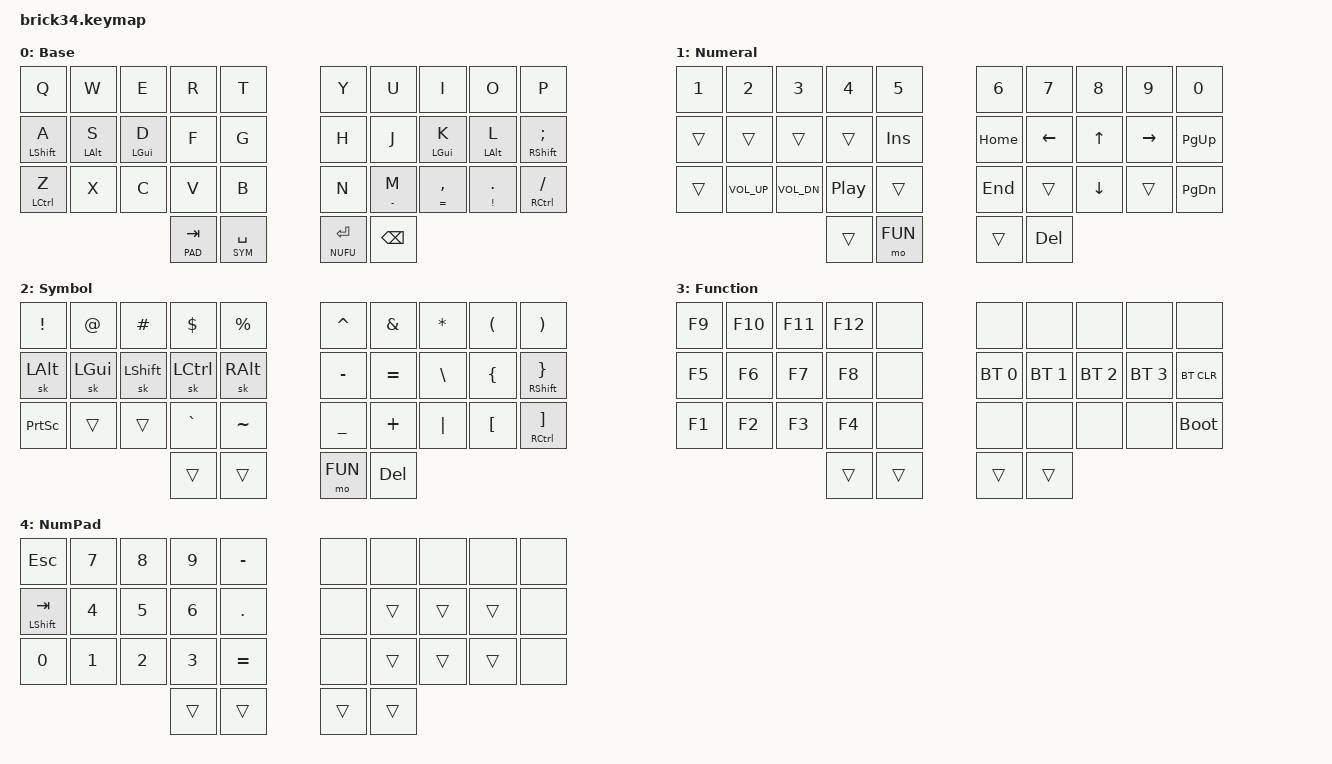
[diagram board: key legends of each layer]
#include <behaviors.dtsi>
#include <dt-bindings/zmk/bt.h>
#include <dt-bindings/zmk/keys.h>

#define BASE 0
#define NUFU 1
#define SYM 2
#define FUN 3
#define PAD 4

&sl {
  release-after-ms = <250>;
};

&mt {
    tapping-term-ms = <200>;
    require-prior-idle-ms = <150>;
};

/ {
    chosen { zmk,matrix_transform = &default_transform; };

    #include "combos.dtsi"

    behaviors {
        hml: homewrow_mods_left {
            compatible = "zmk,behavior-hold-tap";
            label = "HOMEROW_MODS_LEFT_HAND";
            bindings = <&kp>, <&kp>;

            #binding-cells = <2>;
            tapping-term-ms = <280>;
            hold-trigger-key-positions = <5 6 7 8 9 15 16 17 18 19 25 26 27 28 29 33 34>;
            flavor = "balanced";
            quick-tap-ms = <175>;
            require-prior-idle-ms = <125>;
            hold-trigger-on-release;
        };

        hmr: homewrow_mods_right {
            compatible = "zmk,behavior-hold-tap";
            label = "HOMEROW_MODS_RIGHT_HAND";
            bindings = <&kp>, <&kp>;

            #binding-cells = <2>;
            tapping-term-ms = <280>;
            hold-trigger-key-positions = <0 1 2 3 4 10 11 12 13 14 20 21 22 23 24 30 31 32>;
            flavor = "balanced";
            quick-tap-ms = <175>;
            require-prior-idle-ms = <125>;
            hold-trigger-on-release;
        };

        hm: homerow_mods {
            compatible = "zmk,behavior-hold-tap";
            label = "HOMEROW_MODS";
            #binding-cells = <2>;
            tapping-term-ms = <150>;
            quick_tap_ms = <0>;
            flavor = "tap-preferred";
            bindings = <&kp>, <&kp>;
        };
    };


    keymap {
        compatible = "zmk,keymap";
        Base {
            label = "Base";
            bindings = <
// ╭────────────────┬────────────────┬────────────────┬────────────────┬────────────────╮   ╭────────────────┬────────────────┬────────────────┬────────────────┬────────────────╮
   	&kp Q            &kp W            &kp E            &kp R            &kp T                &kp Y       	  &kp U            &kp I       		&kp O       	 &kp P
// ├────────────────┼────────────────┼────────────────┼────────────────┼────────────────┤   ├────────────────┼────────────────┼────────────────┼────────────────┼────────────────┤
   	&hm LSHFT A      &hm LALT S       &hm LGUI D       &kp F            &kp G                &kp H       	  &kp J            &hm LGUI K  	    &hm LALT L  	 &hm RSHFT SEMI
// ├────────────────┼────────────────┼────────────────┼────────────────┼────────────────┤   ├────────────────┼────────────────┼────────────────┼────────────────┼────────────────┤
   	&hm LCTRL Z      &kp X            &kp C            &kp V            &kp B                &kp N       	  &mt MINUS M      &mt EQUAL COMMA  &mt EXCL DOT	 &hm RCTRL FSLH
// ╰────────────────┴────────────────┴────────────────┼────────────────┼────────────────┤   ├────────────────┼────────────────┼────────────────┴────────────────┴────────────────╯
                                              		   &lt PAD TAB      &lt SYM SPACE        &lt NUFU ENTER   &kp BSPC
//                                                    ╰────────────────┴────────────────╯   ╰────────────────┴────────────────╯
            >;
		};

        NuFu {
            label = "Numeral";
            bindings = <
// ╭────────────────┬────────────────┬────────────────┬────────────────┬────────────────╮   ╭────────────────┬────────────────┬────────────────┬────────────────┬────────────────╮
    &kp N1		     &kp N2		      &kp N3		   &kp N4		    &kp N5		    	 &kp N6	    	  &kp N7		   &kp N8			&kp N9			 &kp N0
// ├────────────────┼────────────────┼────────────────┼────────────────┼────────────────┤   ├────────────────┼────────────────┼────────────────┼────────────────┼────────────────┤
    &trans 		 	 &trans  	  	  &trans           &trans   	    &kp INS       		 &kp HOME		  &kp LEFT		   &kp UP  		    &kp RIGHT		 &kp PG_UP
// ├────────────────┼────────────────┼────────────────┼────────────────┼────────────────┤   ├────────────────┼────────────────┼────────────────┼────────────────┼────────────────┤
    &trans 		 	 &kp C_VOL_UP	  &kp C_VOL_DN	   &kp C_PP 	    &trans        		 &kp END	      &trans	       &kp DOWN		    &trans	    	 &kp PG_DN
// ╰────────────────┴────────────────┴────────────────┼────────────────┼────────────────┤   ├────────────────┼────────────────┼────────────────┴────────────────┴────────────────╯
               	                                       &trans           &mo FUN         	 &trans      	  &kp DEL
//                                                    ╰────────────────┴────────────────╯   ╰────────────────┴────────────────╯
            >;
        };

        Symbol {
            label = "Symbol";
            bindings = <
// ╭────────────────┬────────────────┬────────────────┬────────────────┬────────────────╮   ╭────────────────┬────────────────┬────────────────┬────────────────┬────────────────╮
    &kp EXCL  	     &kp AT 		  &kp HASH  	   &kp DLLR  	    &kp PRCNT       	 &kp CARET		  &kp AMPS		   &kp ASTRK		&kp LPAR		 &kp RPAR
// ├────────────────┼────────────────┼────────────────┼────────────────┼────────────────┤   ├────────────────┼────────────────┼────────────────┼────────────────┼────────────────┤
    &sk LALT	     &sk LGUI	      &sk LSHIFT	   &sk LCTRL	    &sk RALT 	    	 &kp MINUS 		  &kp EQUAL		   &kp BSLH		    &kp LBRC   		 &hm RSHFT RBRC
// ├────────────────┼────────────────┼────────────────┼────────────────┼────────────────┤   ├────────────────┼────────────────┼────────────────┼────────────────┼────────────────┤
    &kp PRINTSCREEN  &trans 		  &trans  		   &kp GRAVE    	&kp TILDE 			 &kp UNDER		  &kp PLUS		   &kp PIPE		    &kp LBKT 		 &hm RCTRL RBKT
// ╰────────────────┴────────────────┴────────────────┼────────────────┼────────────────┤   ├────────────────┼────────────────┼────────────────┴────────────────┴────────────────╯
        	                                           &trans           &trans          	 &mo FUN     	  &kp DEL
//                                                    ╰────────────────┴────────────────╯   ╰────────────────┴────────────────╯
            >;
        };

        Function {
            label = "Function";
            bindings = <
// ╭────────────────┬────────────────┬────────────────┬────────────────┬────────────────╮   ╭────────────────┬────────────────┬────────────────┬────────────────┬────────────────╮
    &kp F9	         &kp F10	      &kp F11		   &kp F12	        &none          		 &none			  &none			   &none			&none     		 &none
// ├────────────────┼────────────────┼────────────────┼────────────────┼────────────────┤   ├────────────────┼────────────────┼────────────────┼────────────────┼────────────────┤
    &kp F5	         &kp F6	          &kp F7		   &kp F8	        &none 	        	 &bt BT_SEL 0     &bt BT_SEL 1     &bt BT_SEL 2 	&bt BT_SEL 3   	 &bt BT_CLR
// ├────────────────┼────────────────┼────────────────┼────────────────┼────────────────┤   ├────────────────┼────────────────┼────────────────┼────────────────┼────────────────┤
    &kp F1     		 &kp F2    		  &kp F3 		   &kp F4   		&none 	    		 &none	    	  &none	   		   &none  	    	&none 		     &bootloader
// ╰────────────────┴────────────────┴────────────────┼────────────────┼────────────────┤   ├────────────────┼────────────────┼────────────────┴────────────────┴────────────────╯
        	                                           &trans           &trans          	 &trans      	  &trans
//                                                 	  ╰────────────────┴────────────────╯   ╰────────────────┴────────────────╯
            >;
        };

        Pad {
            label = "NumPad";
            bindings = <
// ╭────────────────┬────────────────┬────────────────┬────────────────┬────────────────╮   ╭────────────────┬────────────────┬────────────────┬────────────────┬────────────────╮
    &kp ESC	         &kp N7	          &kp N8		   &kp N9	        &kp MINUS       	 &none            &none            &none 	        &none 	         &none
// ├────────────────┼────────────────┼────────────────┼────────────────┼────────────────┤   ├────────────────┼────────────────┼────────────────┼────────────────┼────────────────┤
    &hm LSHIFT TAB	 &kp N4	          &kp N5		   &kp N6	        &kp DOT 	    	 &none       	  &trans           &trans 	        &trans           &none
// ├────────────────┼────────────────┼────────────────┼────────────────┼────────────────┤   ├────────────────┼────────────────┼────────────────┼────────────────┼────────────────┤
    &kp N0     		 &kp N1    	 	  &kp N2 		   &kp N3   		&kp EQUAL  	   		 &none         	  &trans           &trans           &trans           &none
// ╰────────────────┴────────────────┴────────────────┼────────────────┼────────────────┤   ├────────────────┼────────────────┼────────────────┴────────────────┴────────────────╯
        	                                           &trans           &trans          	 &trans     	  &trans
//                                                 	  ╰────────────────┴────────────────╯   ╰────────────────┴────────────────╯
            >;
        };
    };
};
